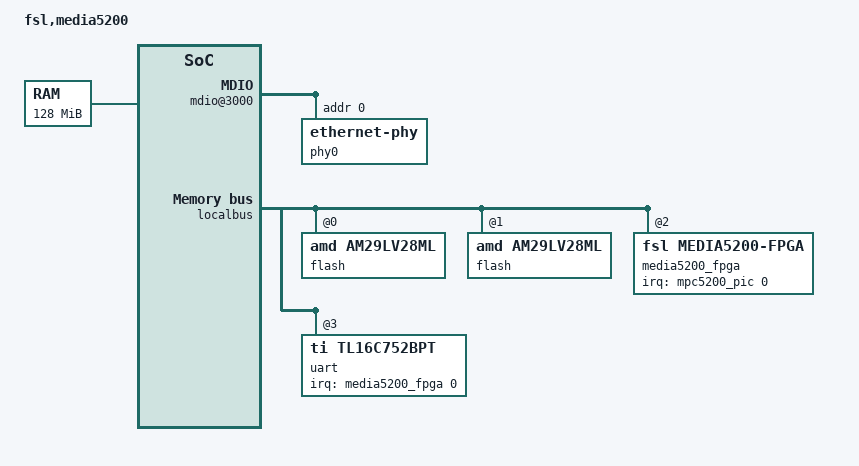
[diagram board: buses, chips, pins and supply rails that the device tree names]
/*
 * Freescale Media5200 board Device Tree Source
 *
 * Copyright 2009 Secret Lab Technologies Ltd.
 * Grant Likely <grant.likely@secretlab.ca>
 * Steven Cavanagh <scavanagh@secretlab.ca>
 *
 * This program is free software; you can redistribute  it and/or modify it
 * under  the terms of  the GNU General  Public License as published by the
 * Free Software Foundation;  either version 2 of the  License, or (at your
 * option) any later version.
 */

/include/ "mpc5200b.dtsi"

&gpt0 { fsl,has-wdt; };

/ {
	model = "fsl,media5200";
	compatible = "fsl,media5200";

	aliases {
		console = &console;
		ethernet0 = &eth0;
	};

	chosen {
		linux,stdout-path = &console;
	};

	cpus {
		PowerPC,5200@0 {
			timebase-frequency = <33000000>;	// 33 MHz, these were configured by U-Boot
			bus-frequency = <132000000>;		// 132 MHz
			clock-frequency = <396000000>;		// 396 MHz
		};
	};

	memory {
		reg = <0x00000000 0x08000000>;	// 128MB RAM
	};

	soc5200@f0000000 {
		bus-frequency = <132000000>;// 132 MHz

		psc@2000 {	// PSC1
			status = "disabled";
		};

		psc@2200 {	// PSC2
			status = "disabled";
		};

		psc@2400 {	// PSC3
			status = "disabled";
		};

		psc@2600 {	// PSC4
			status = "disabled";
		};

		psc@2800 {	// PSC5
			status = "disabled";
		};

		// PSC6 in uart mode
		console: psc@2c00 {		// PSC6
			compatible = "fsl,mpc5200b-psc-uart","fsl,mpc5200-psc-uart";
		};

		ethernet@3000 {
			phy-handle = <&phy0>;
		};

		mdio@3000 {
			phy0: ethernet-phy@0 {
				reg = <0>;
			};
		};

		usb@1000 {
			reg = <0x1000 0x100>;
		};
	};

	pci@f0000d00 {
		interrupt-map-mask = <0xf800 0 0 7>;
		interrupt-map = <0xc000 0 0 1 &media5200_fpga 0 2 // 1st slot
				 0xc000 0 0 2 &media5200_fpga 0 3
				 0xc000 0 0 3 &media5200_fpga 0 4
				 0xc000 0 0 4 &media5200_fpga 0 5

				 0xc800 0 0 1 &media5200_fpga 0 3 // 2nd slot
				 0xc800 0 0 2 &media5200_fpga 0 4
				 0xc800 0 0 3 &media5200_fpga 0 5
				 0xc800 0 0 4 &media5200_fpga 0 2

				 0xd000 0 0 1 &media5200_fpga 0 4 // miniPCI
				 0xd000 0 0 2 &media5200_fpga 0 5

				 0xe000 0 0 1 &media5200_fpga 0 5 // CoralIP
				>;
		ranges = <0x42000000 0 0x80000000 0x80000000 0 0x20000000
			  0x02000000 0 0xa0000000 0xa0000000 0 0x10000000
			  0x01000000 0 0x00000000 0xb0000000 0 0x01000000>;
		interrupt-parent = <&mpc5200_pic>;
	};

	localbus {
		ranges = < 0 0 0xfc000000 0x02000000
			   1 0 0xfe000000 0x02000000
			   2 0 0xf0010000 0x00010000
			   3 0 0xf0020000 0x00010000 >;
		flash@0,0 {
			compatible = "amd,am29lv28ml", "cfi-flash";
			reg = <0 0x0 0x2000000>;                // 32 MB
			bank-width = <4>;                       // Width in bytes of the flash bank
			device-width = <2>;                     // Two devices on each bank
		};

		flash@1,0 {
			compatible = "amd,am29lv28ml", "cfi-flash";
			reg = <1 0 0x2000000>;                  // 32 MB
			bank-width = <4>;                       // Width in bytes of the flash bank
			device-width = <2>;                     // Two devices on each bank
		};

		media5200_fpga: fpga@2,0 {
			compatible = "fsl,media5200-fpga";
			interrupt-controller;
			#interrupt-cells = <2>;	// 0:bank 1:id; no type field
			reg = <2 0 0x10000>;

			interrupt-parent = <&mpc5200_pic>;
			interrupts = <0 0 3	// IRQ bank 0
			              1 1 3>;	// IRQ bank 1
		};

		uart@3,0 {
			compatible = "ti,tl16c752bpt";
			reg = <3 0 0x10000>;
			interrupt-parent = <&media5200_fpga>;
			interrupts = <0 0  0 1>; // 2 irqs
		};
	};
};
